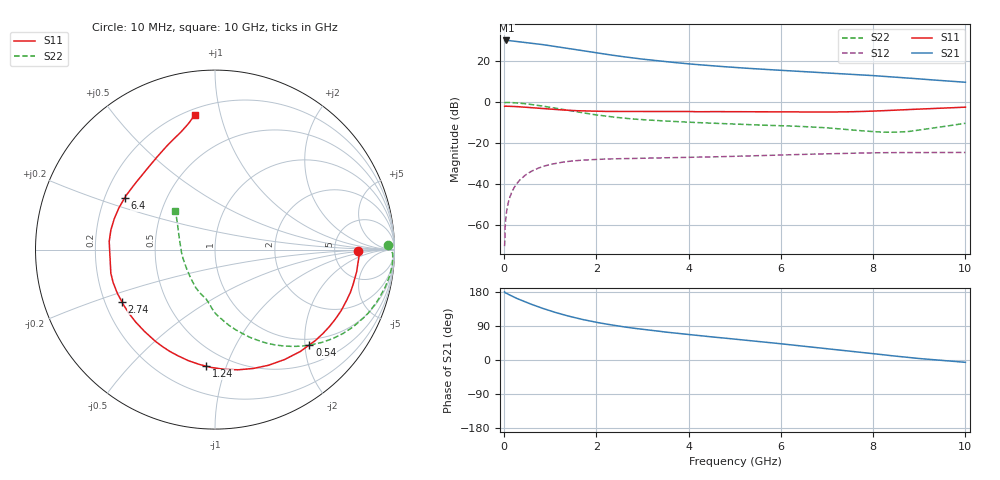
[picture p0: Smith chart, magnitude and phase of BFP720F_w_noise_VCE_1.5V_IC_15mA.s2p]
! Infineon Technologies  Discrete & RF Semiconductors
! BFP720F
! VCE =  1.5 V,  IC =  15 mA
! Common Emitter S-Parameters:  Jan 2016
# GHz  S  MA  R  50
!  f  S11  S21  S12  S22
! GHz  MAG  ANG  MAG  ANG  MAG  ANG  MAG  ANG
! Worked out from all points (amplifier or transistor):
!   233 points, 10 MHz to 10 GHz, reference 50 ohm
!   highest |S21| = 30.3 dB at 50 MHz (marker M1)
!   |S21| within 3 dB of that: start of sweep to 1.121 GHz
!   unconditionally stable (mu >= 1): start of sweep to 14.47 MHz; 6.12 GHz to end of sweep
!   at 200 MHz: K = 0.08, MSG = 36.2 dB, |S12| = -42.5 dB
!   at 1.74 GHz: K = 0.39, MSG = 26.7 dB, |S12| = -28.3 dB
!   at 10 GHz: K = 1.26, MAG = 14.1 dB, |S12| = -24.6 dB
!   lowest NFmin = 0.69 dB at 450 MHz
!   S11 on the Smith chart (normalised r, x): 10 MHz: 8.80, -0.40; 540 MHz: 0.87, -2.09; 1.24 GHz: 0.38, -0.86; 2.74 GHz: 0.27, -0.24; 6.4 GHz: 0.28, +0.25; 10 GHz: 0.24, +0.83
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0.01  0.7964 -0.6  32.34 179.6  0.0003 -24.4  0.9627 1.5
0.02  0.8051 -1.6  32.44 177.3  0.0008 94.3  0.9902 -1.2
0.05  0.8004 -4.6  32.66 176.3  0.002 93.4  0.9914 -2.3
0.145  0.7948 -12.8  32.05 169.8  0.0055 83.5  0.9865 -7.4
0.26  0.784 -22.5  31.01 163.2  0.0097 78.3  0.9675 -13.2
0.4  0.7679 -34.2  29.75 156.0  0.0145 72.4  0.9362 -20.1
0.54  0.7472 -45.3  28.48 149.4  0.0189 66.7  0.8988 -26.4
0.7  0.7248 -57.7  27.03 142.0  0.0234 60.7  0.8523 -33.3
0.88  0.6977 -70.8  25.42 134.4  0.0277 54.6  0.7937 -40.3
1.24  0.6515 -94.2  22.07 121.0  0.0338 44.4  0.6779 -52.6
1.48  0.6284 -107.8  20.01 113.2  0.0366 39.1  0.6087 -59.7
1.68  0.6151 -117.7  18.45 107.5  0.0382 35.4  0.558 -64.8
1.92  0.6034 -127.8  16.74 101.3  0.0397 31.6  0.5065 -70.3
2.2  0.5985 -137.5  15.02 95.1  0.0408 28.2  0.459 -75.8
2.74  0.5945 -150.8  12.39 85.0  0.042 23.9  0.3948 -83.8
3.4  0.5958 -160.8  10.17 75.3  0.0435 21.0  0.3527 -90.0
4  0.5951 -167.2  8.723 67.1  0.0447 19.3  0.3252 -93.3
5.1  0.5891 168.0  7.006 53.9  0.0479 17.4  0.2892 -98.3
6.4  0.5799 150.2  5.721 37.8  0.0527 14.4  0.2575 -108.6
6.8  0.5769 143.7  5.39 32.6  0.0541 13.1  0.2436 -113.9
8.4  0.6367 114.9  4.196 11.3  0.0586 6.5  0.185 -164.4
10  0.7591 98.6  3.094 -6.1  0.0591 1.7  0.3067 135.9
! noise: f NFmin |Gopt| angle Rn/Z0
0.45  0.69  0.24  1  0.47
0.9  0.71  0.18  6  0.15
1.8  0.75  0.16  8  0.15
2.4  0.77  0.14  12  0.13
5.5  0.93  0.11  16  0.08
10  1.1  0.32  -85  0.21
